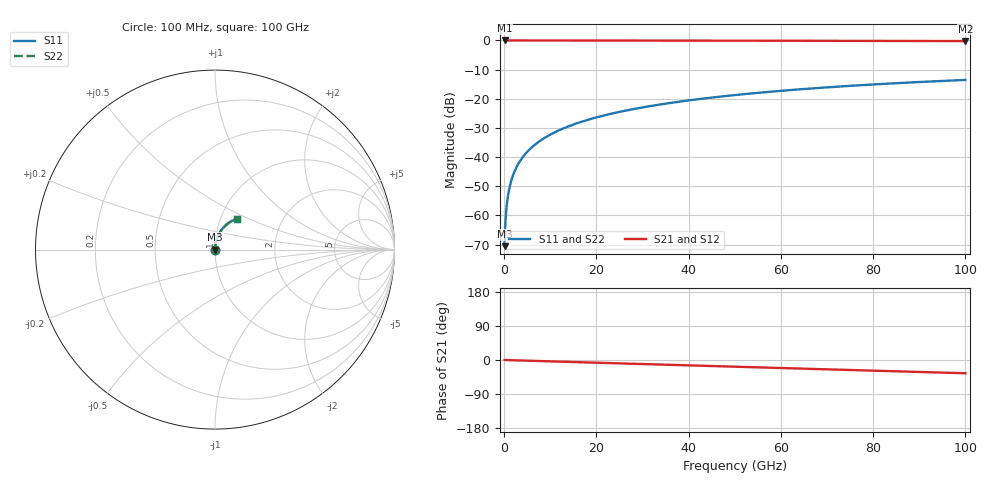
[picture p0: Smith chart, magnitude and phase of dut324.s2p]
! Touchstone file exported from HFSS 2026.1.0
!  File:  C:/ffzhzh/LocalFiles/Ansys_Project_Files/temp_train_TSV_324_1783509562_9504.aedt
!  Generated:  07:20:37 PM Jul  8, 2026
!  Design:  TSV
!  Project:  temp_train_TSV_324_1783509562_9504
! Variables:
!  h_bsmrdl = 2um
!  h_ox = 20um
!  h_rdl = 5um
!  h_sub = 58.07um
!  h_tmrdl = 5um
!  h_tsv = 58.07um
!  h_via = 3um
!  l_bsmrdl = 300um
!  l_sub = 417.62um
!  l_tmrdl = 200um
!  m_sub = 200um
!  pitch = 58.4um
!  r_tsv = 8.81um
!  s_tmrdl = 10um
!  w_bsmrdl = 18um
!  w_sub = 500um
!  w_tmrdl = 12um
!  x_tsv_center1 = 206um
!  x_tsv_center2 = 524um
!  x_tsv_center3 = 736um
!  x_tsv_center4 = 1054um
!  x_tsv_center5 = 1266um
!  x_tsv_center6 = 1584um
# GHz S MA R 50.000000
! Terminal data exported
! Port[1] = TSV1_1_T1
! Port[2] = TSV1_1_T2
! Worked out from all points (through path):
!   1000 points, 100 MHz to 100 GHz, reference 50 ohm
!   highest |S21| = 0.00 dB at 100 MHz (marker M1); lowest = -0.2 dB at 100 GHz (marker M2)
!   group delay of S21, straight-line fit = 972 fs
!   lowest |S11| = -70.5 dB at 100 MHz (marker M3), VSWR 1.00, Z = 50 + j0.0272 ohm
!   |S11| at or under -10 dB: start of sweep to end of sweep
!   |S22| runs from -70.5 to -13.5 dB; largest |S21 - S12| = 4e-15
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0.1  0.0002969 66.4  0.9999 -0.0  0.9999 -0.0  0.0002969 66.4
! Gamma 0 0 0 0
! Port Impedance 50 0 50 0
0.3  0.0008183 79.9  0.9999 -0.1  0.9999 -0.1  0.0008183 79.9
0.7  0.001838 83.6  0.9998 -0.3  0.9998 -0.3  0.001838 83.6
0.8  0.002088 84.0  0.9998 -0.3  0.9998 -0.3  0.002088 84.0
1  0.002587 84.5  0.9998 -0.4  0.9998 -0.4  0.002587 84.5
1.3  0.003331 85.1  0.9997 -0.5  0.9997 -0.5  0.003331 85.1
1.7  0.004318 85.5  0.9997 -0.6  0.9997 -0.6  0.004318 85.5
2.3  0.005788 85.7  0.9996 -0.8  0.9996 -0.8  0.005788 85.7
3  0.00749 85.8  0.9996 -1.1  0.9996 -1.1  0.00749 85.8
3.8  0.009423 85.9  0.9995 -1.4  0.9995 -1.4  0.009423 85.9
4.8  0.01183 85.8  0.9994 -1.7  0.9994 -1.7  0.01183 85.8
6  0.01471 85.6  0.9993 -2.2  0.9993 -2.2  0.01471 85.6
8.8  0.02142 85.0  0.9991 -3.2  0.9991 -3.2  0.02142 85.0
12.4  0.02999 84.0  0.9987 -4.4  0.9987 -4.4  0.02998 84.0
16.8  0.04039 82.6  0.9982 -6.0  0.9982 -6.0  0.04039 82.6
24.2  0.05772 80.2  0.9972 -8.6  0.9972 -8.6  0.05772 80.2
33.4  0.0789 77.2  0.9955 -11.9  0.9955 -11.9  0.0789 77.1
41.2  0.09646 74.5  0.9938 -14.6  0.9938 -14.6  0.09646 74.5
50.1  0.1159 71.5  0.9916 -17.7  0.9916 -17.7  0.1159 71.5
66.7  0.1505 65.8  0.9867 -23.5  0.9867 -23.5  0.1505 65.8
83.4  0.1822 60.1  0.9811 -29.3  0.9811 -29.3  0.1822 60.1
100  0.2103 54.5  0.9753 -35.0  0.9753 -35.0  0.2103 54.5
